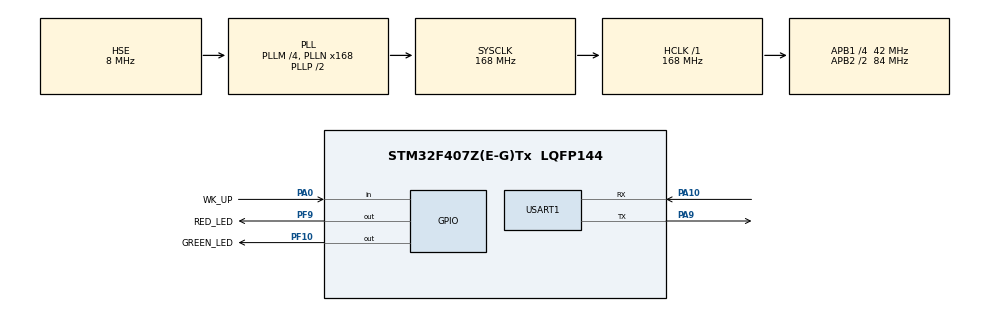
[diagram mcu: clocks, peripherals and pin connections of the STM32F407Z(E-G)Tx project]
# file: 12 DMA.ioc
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Dma.Request0=USART1_RX
Dma.Request1=USART1_TX
Dma.USART1_RX.0.Direction=DMA_PERIPH_TO_MEMORY
Dma.USART1_RX.0.FIFOMode=DMA_FIFOMODE_DISABLE
Dma.USART1_RX.0.Instance=DMA2_Stream2
Dma.USART1_RX.0.MemDataAlignment=DMA_MDATAALIGN_BYTE
Dma.USART1_RX.0.MemInc=DMA_MINC_ENABLE
Dma.USART1_RX.0.Mode=DMA_CIRCULAR
Dma.USART1_RX.0.PeriphDataAlignment=DMA_PDATAALIGN_BYTE
Dma.USART1_RX.0.PeriphInc=DMA_PINC_DISABLE
Dma.USART1_RX.0.Priority=DMA_PRIORITY_MEDIUM
Dma.USART1_TX.1.Direction=DMA_MEMORY_TO_PERIPH
Dma.USART1_TX.1.FIFOMode=DMA_FIFOMODE_DISABLE
Dma.USART1_TX.1.Instance=DMA2_Stream7
Dma.USART1_TX.1.MemDataAlignment=DMA_MDATAALIGN_BYTE
Dma.USART1_TX.1.MemInc=DMA_MINC_ENABLE
Dma.USART1_TX.1.Mode=DMA_NORMAL
Dma.USART1_TX.1.PeriphDataAlignment=DMA_PDATAALIGN_BYTE
Dma.USART1_TX.1.PeriphInc=DMA_PINC_DISABLE
Dma.USART1_TX.1.Priority=DMA_PRIORITY_LOW
Mcu.Family=STM32F4
Mcu.Name=STM32F407Z(E-G)Tx
Mcu.Package=LQFP144
NVIC.DMA2_Stream2_IRQn=true\:1\:0\:true\:false\:true\:false\:true\:true
NVIC.DMA2_Stream7_IRQn=true\:1\:0\:true\:false\:true\:false\:true\:true
NVIC.PriorityGroup=NVIC_PRIORITYGROUP_4
NVIC.USART1_IRQn=true\:1\:0\:true\:false\:true\:true\:true\:true
PA0-WKUP.GPIO_Label=WK_UP
PA0-WKUP.GPIO_PuPd=GPIO_PULLDOWN
PA0-WKUP.Signal=GPIO_Input
PA10.Mode=Asynchronous
PA10.Signal=USART1_RX
PA13.Mode=Serial_Wire
PA13.Signal=SYS_JTMS-SWDIO
PA14.Mode=Serial_Wire
PA14.Signal=SYS_JTCK-SWCLK
PA9.Mode=Asynchronous
PA9.Signal=USART1_TX
PC14-OSC32_IN.Mode=LSE-External-Oscillator
PC14-OSC32_IN.Signal=RCC_OSC32_IN
PC15-OSC32_OUT.Mode=LSE-External-Oscillator
PC15-OSC32_OUT.Signal=RCC_OSC32_OUT
PF10.GPIO_Label=GREEN_LED
PF10.PinState=GPIO_PIN_SET
PF10.Signal=GPIO_Output
PF9.GPIO_Label=RED_LED
PF9.PinState=GPIO_PIN_SET
PF9.Signal=GPIO_Output
PH0-OSC_IN.Mode=HSE-External-Oscillator
PH0-OSC_IN.Signal=RCC_OSC_IN
PH1-OSC_OUT.Mode=HSE-External-Oscillator
PH1-OSC_OUT.Signal=RCC_OSC_OUT
ProjectManager.HeapSize=0x200
ProjectManager.StackSize=0x400
ProjectManager.TargetToolchain=MDK-ARM V5.32
RCC.48MHZClocksFreq_Value=84000000
RCC.AHBFreq_Value=168000000
RCC.APB1CLKDivider=RCC_HCLK_DIV4
RCC.APB1Freq_Value=42000000
RCC.APB1TimFreq_Value=84000000
RCC.APB2CLKDivider=RCC_HCLK_DIV2
RCC.APB2Freq_Value=84000000
RCC.APB2TimFreq_Value=168000000
RCC.CortexFreq_Value=168000000
RCC.HCLKFreq_Value=168000000
RCC.HSE_VALUE=8000000
RCC.HSI_VALUE=16000000
RCC.PLLM=4
RCC.PLLN=168
RCC.PLLSourceVirtual=RCC_PLLSOURCE_HSE
RCC.SYSCLKFreq_VALUE=168000000
RCC.SYSCLKSource=RCC_SYSCLKSOURCE_PLLCLK
RCC.VCOOutputFreq_Value=336000000
USART1.VirtualMode=VM_ASYNC
board=custom

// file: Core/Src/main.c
/* USER CODE BEGIN Header */
/**
  ******************************************************************************
  * @file           : main.c
  * @brief          : Main program body
  ******************************************************************************
  * @attention
  *
  * Copyright (c) 2023 STMicroelectronics.
  * All rights reserved.
  *
  * This software is licensed under terms that can be found in the LICENSE file
  * in the root directory of this software component.
  * If no LICENSE file comes with this software, it is provided AS-IS.
  *
  ******************************************************************************
  */
/* USER CODE END Header */
#include "main.h"
#include "dma.h"
#include "usart.h"
#include "gpio.h"

/* USER CODE BEGIN Includes */
#include <stdio.h>

#ifdef __GNUC__
#define PUTCHAR_PROTOTYPE int __io_putchar(int ch)
#else
#define PUTCHAR_PROTOTYPE int fputc(int ch, FILE *f)
#endif
PUTCHAR_PROTOTYPE
{
      HAL_UART_Transmit(&huart1, (uint8_t *)&ch, 1, HAL_MAX_DELAY);
      return ch;
}
/* USER CODE END Includes */

void SystemClock_Config(void);

int main(void)
{

  /* MCU Configuration--------------------------------------------------------*/

  /* Reset of all peripherals, Initializes the Flash interface and the Systick. */
  HAL_Init();

  /* Configure the system clock */
  SystemClock_Config();

  /* Initialize all configured peripherals */
  MX_GPIO_Init();
  MX_DMA_Init();
  MX_USART1_UART_Init();
  /* USER CODE BEGIN 2 */
	HAL_UART_Receive_DMA(&huart1, rxBuffer, RX_CMD_LEN);
  /* USER CODE END 2 */

  /* Infinite loop */
  while (1)
  {

    /* USER CODE BEGIN 3 */
		/*函数按键WK_UP控制代码*/
		if(HAL_GPIO_ReadPin(WK_UP_GPIO_Port,WK_UP_Pin) == GPIO_PIN_SET)
		{
			HAL_Delay(50);
			if(HAL_GPIO_ReadPin(WK_UP_GPIO_Port,WK_UP_Pin) == GPIO_PIN_SET)
			{
					HAL_UART_Transmit_DMA(&huart1, (uint8_t *)"Key WK_UP Pressed!\r\n", 20);
					while(HAL_GPIO_ReadPin(WK_UP_GPIO_Port,WK_UP_Pin));
			}
		}

  }
  /* USER CODE END 3 */
}

void SystemClock_Config(void)
{
  RCC_OscInitTypeDef RCC_OscInitStruct = {0};
  RCC_ClkInitTypeDef RCC_ClkInitStruct = {0};

  /** Configure the main internal regulator output voltage
  */
  __HAL_RCC_PWR_CLK_ENABLE();
  __HAL_PWR_VOLTAGESCALING_CONFIG(PWR_REGULATOR_VOLTAGE_SCALE1);

  /** Initializes the RCC Oscillators according to the specified parameters
  * in the RCC_OscInitTypeDef structure.
  */
  RCC_OscInitStruct.OscillatorType = RCC_OSCILLATORTYPE_HSE;
  RCC_OscInitStruct.HSEState = RCC_HSE_ON;
  RCC_OscInitStruct.PLL.PLLState = RCC_PLL_ON;
  RCC_OscInitStruct.PLL.PLLSource = RCC_PLLSOURCE_HSE;
  RCC_OscInitStruct.PLL.PLLM = 4;
  RCC_OscInitStruct.PLL.PLLN = 168;
  RCC_OscInitStruct.PLL.PLLP = RCC_PLLP_DIV2;
  RCC_OscInitStruct.PLL.PLLQ = 4;
  if (HAL_RCC_OscConfig(&RCC_OscInitStruct) != HAL_OK)
  {
    Error_Handler();
  }

  /** Initializes the CPU, AHB and APB buses clocks
  */
  RCC_ClkInitStruct.ClockType = RCC_CLOCKTYPE_HCLK|RCC_CLOCKTYPE_SYSCLK
                              |RCC_CLOCKTYPE_PCLK1|RCC_CLOCKTYPE_PCLK2;
  RCC_ClkInitStruct.SYSCLKSource = RCC_SYSCLKSOURCE_PLLCLK;
  RCC_ClkInitStruct.AHBCLKDivider = RCC_SYSCLK_DIV1;
  RCC_ClkInitStruct.APB1CLKDivider = RCC_HCLK_DIV4;
  RCC_ClkInitStruct.APB2CLKDivider = RCC_HCLK_DIV2;

  if (HAL_RCC_ClockConfig(&RCC_ClkInitStruct, FLASH_LATENCY_5) != HAL_OK)
  {
    Error_Handler();
  }
}

void Error_Handler(void)
{
  __disable_irq();
  while (1)
  {
  }
}
